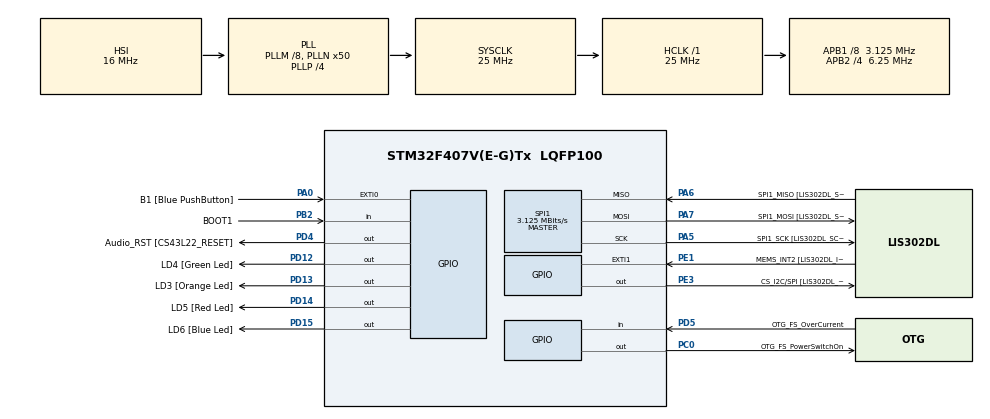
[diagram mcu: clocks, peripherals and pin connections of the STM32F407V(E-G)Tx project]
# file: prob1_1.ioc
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Mcu.Family=STM32F4
Mcu.Name=STM32F407V(E-G)Tx
Mcu.Package=LQFP100
NVIC.PriorityGroup=NVIC_PRIORITYGROUP_0
PA0-WKUP.GPIO_Label=B1 [Blue PushButton]
PA0-WKUP.GPIO_ModeDefaultEXTI=GPIO_MODE_EVT_RISING
PA0-WKUP.GPIO_PuPd=GPIO_NOPULL
PA0-WKUP.Signal=GPXTI0
PA10.GPIO_Label=OTG_FS_ID
PA10.GPIO_Mode=GPIO_MODE_AF_PP
PA10.GPIO_PuPd=GPIO_NOPULL
PA10.GPIO_Speed=GPIO_SPEED_FREQ_LOW
PA10.Signal=USB_OTG_FS_ID
PA11.GPIO_Label=OTG_FS_DM
PA11.GPIO_Mode=GPIO_MODE_AF_PP
PA11.GPIO_PuPd=GPIO_NOPULL
PA11.GPIO_Speed=GPIO_SPEED_FREQ_LOW
PA11.Signal=USB_OTG_FS_DM
PA12.GPIO_Label=OTG_FS_DP
PA12.GPIO_Mode=GPIO_MODE_AF_PP
PA12.GPIO_PuPd=GPIO_NOPULL
PA12.GPIO_Speed=GPIO_SPEED_FREQ_LOW
PA12.Signal=USB_OTG_FS_DP
PA13.GPIO_Label=SWDIO
PA13.Signal=SYS_JTMS-SWDIO
PA14.GPIO_Label=SWCLK
PA14.Signal=SYS_JTCK-SWCLK
PA4.GPIO_Label=I2S3_WS [CS43L22_LRCK]
PA4.GPIO_Mode=GPIO_MODE_AF_PP
PA4.GPIO_PuPd=GPIO_NOPULL
PA4.GPIO_Speed=GPIO_SPEED_FREQ_LOW
PA4.Signal=I2S3_WS
PA5.GPIO_Label=SPI1_SCK [LIS302DL_SCL/SPC]
PA5.GPIO_Mode=GPIO_MODE_AF_PP
PA5.GPIO_PuPd=GPIO_NOPULL
PA5.GPIO_Speed=GPIO_SPEED_FREQ_LOW
PA5.Mode=Full_Duplex_Master
PA5.Signal=SPI1_SCK
PA6.GPIO_Label=SPI1_MISO [LIS302DL_SDO]
PA6.GPIO_Mode=GPIO_MODE_AF_PP
PA6.GPIO_PuPd=GPIO_NOPULL
PA6.GPIO_Speed=GPIO_SPEED_FREQ_LOW
PA6.Mode=Full_Duplex_Master
PA6.Signal=SPI1_MISO
PA7.GPIO_Label=SPI1_MOSI [LIS302DL_SDA/SDI/SDO]
PA7.GPIO_Mode=GPIO_MODE_AF_PP
PA7.GPIO_PuPd=GPIO_NOPULL
PA7.GPIO_Speed=GPIO_SPEED_FREQ_LOW
PA7.Mode=Full_Duplex_Master
PA7.Signal=SPI1_MOSI
PA9.GPIO_Label=VBUS_FS
PA9.GPIO_Mode=GPIO_MODE_INPUT
PA9.GPIO_PuPd=GPIO_NOPULL
PA9.Signal=USB_OTG_FS_VBUS
PB10.GPIO_Label=CLK_IN [MP45DT02_CLK]
PB10.GPIO_Mode=GPIO_MODE_AF_PP
PB10.GPIO_PuPd=GPIO_NOPULL
PB10.GPIO_Speed=GPIO_SPEED_FREQ_LOW
PB10.Signal=I2S2_CK
PB2.GPIO_Label=BOOT1
PB2.GPIO_Mode=GPIO_MODE_INPUT
PB2.GPIO_PuPd=GPIO_NOPULL
PB2.Signal=GPIO_Input
PB3.GPIO_Label=SWO
PB3.Signal=SYS_JTDO-SWO
PB6.GPIO_Label=Audio_SCL [CS43L22_SCL]
PB6.GPIO_Mode=GPIO_MODE_AF_OD
PB6.GPIO_PuPd=GPIO_NOPULL
PB6.GPIO_Speed=GPIO_SPEED_FREQ_LOW
PB6.Signal=I2C1_SCL
PB9.GPIO_Label=Audio_SDA [CS43L22_SDA]
PB9.GPIO_Mode=GPIO_MODE_AF_OD
PB9.GPIO_PuPd=GPIO_NOPULL
PB9.GPIO_Speed=GPIO_SPEED_FREQ_LOW
PB9.Signal=I2C1_SDA
PC0.GPIO_Label=OTG_FS_PowerSwitchOn
PC0.GPIO_PuPd=GPIO_NOPULL
PC0.GPIO_Speed=GPIO_SPEED_FREQ_LOW
PC0.PinState=GPIO_PIN_SET
PC0.Signal=GPIO_Output
PC10.GPIO_Label=I2S3_SCK [CS43L22_SCLK]
PC10.GPIO_Mode=GPIO_MODE_AF_PP
PC10.GPIO_PuPd=GPIO_NOPULL
PC10.GPIO_Speed=GPIO_SPEED_FREQ_LOW
PC10.Signal=I2S3_CK
PC12.GPIO_Label=I2S3_SD [CS43L22_SDIN]
PC12.GPIO_Mode=GPIO_MODE_AF_PP
PC12.GPIO_PuPd=GPIO_NOPULL
PC12.GPIO_Speed=GPIO_SPEED_FREQ_LOW
PC12.Signal=I2S3_SD
PC14-OSC32_IN.GPIO_Label=PC14-OSC32_IN
PC14-OSC32_IN.Signal=RCC_OSC32_IN
PC15-OSC32_OUT.GPIO_Label=PC15-OSC32_OUT
PC15-OSC32_OUT.Signal=RCC_OSC32_OUT
PC3.GPIO_Label=PDM_OUT [MP45DT02_DOUT]
PC3.GPIO_Mode=GPIO_MODE_AF_PP
PC3.GPIO_PuPd=GPIO_NOPULL
PC3.GPIO_Speed=GPIO_SPEED_FREQ_LOW
PC3.Signal=I2S2_SD
PC7.GPIO_Label=I2S3_MCK [CS43L22_MCLK]
PC7.GPIO_Mode=GPIO_MODE_AF_PP
PC7.GPIO_PuPd=GPIO_NOPULL
PC7.GPIO_Speed=GPIO_SPEED_FREQ_LOW
PC7.Signal=I2S3_MCK
PD12.GPIO_Label=LD4 [Green Led]
PD12.GPIO_PuPd=GPIO_NOPULL
PD12.GPIO_Speed=GPIO_SPEED_FREQ_LOW
PD12.Signal=GPIO_Output
PD13.GPIO_Label=LD3 [Orange Led]
PD13.GPIO_PuPd=GPIO_NOPULL
PD13.GPIO_Speed=GPIO_SPEED_FREQ_LOW
PD13.Signal=GPIO_Output
PD14.GPIO_Label=LD5 [Red Led]
PD14.GPIO_PuPd=GPIO_NOPULL
PD14.GPIO_Speed=GPIO_SPEED_FREQ_LOW
PD14.Signal=GPIO_Output
PD15.GPIO_Label=LD6 [Blue Led]
PD15.GPIO_PuPd=GPIO_NOPULL
PD15.GPIO_Speed=GPIO_SPEED_FREQ_LOW
PD15.Signal=GPIO_Output
PD4.GPIO_Label=Audio_RST [CS43L22_RESET]
PD4.GPIO_PuPd=GPIO_NOPULL
PD4.GPIO_Speed=GPIO_SPEED_FREQ_LOW
PD4.Signal=GPIO_Output
PD5.GPIO_Label=OTG_FS_OverCurrent
PD5.GPIO_Mode=GPIO_MODE_INPUT
PD5.GPIO_PuPd=GPIO_NOPULL
PD5.Signal=GPIO_Input
PE1.GPIO_Label=MEMS_INT2 [LIS302DL_INT2]
PE1.GPIO_ModeDefaultEXTI=GPIO_MODE_EVT_RISING
PE1.GPIO_PuPd=GPIO_NOPULL
PE1.Signal=GPXTI1
PE3.GPIO_Label=CS_I2C/SPI [LIS302DL_CS_I2C/SPI]
PE3.GPIO_PuPd=GPIO_NOPULL
PE3.GPIO_Speed=GPIO_SPEED_FREQ_LOW
PE3.Signal=GPIO_Output
PH0-OSC_IN.GPIO_Label=PH0-OSC_IN
PH0-OSC_IN.Signal=RCC_OSC_IN
PH1-OSC_OUT.GPIO_Label=PH1-OSC_OUT
PH1-OSC_OUT.Signal=RCC_OSC_OUT
ProjectManager.HeapSize=0x200
ProjectManager.StackSize=0x400
ProjectManager.TargetToolchain=EWARM
RCC.48MHZClocksFreq_Value=14285714.285714285
RCC.AHBFreq_Value=25000000
RCC.APB1CLKDivider=RCC_HCLK_DIV8
RCC.APB1Freq_Value=3125000
RCC.APB1TimFreq_Value=6250000
RCC.APB2CLKDivider=RCC_HCLK_DIV4
RCC.APB2Freq_Value=6250000
RCC.APB2TimFreq_Value=12500000
RCC.CortexFreq_Value=25000000
RCC.HCLKFreq_Value=25000000
RCC.HSE_VALUE=8000000
RCC.HSI_VALUE=16000000
RCC.LSE_VALUE=32768
RCC.PLLM=8
RCC.PLLN=50
RCC.PLLP=RCC_PLLP_DIV4
RCC.PLLQ=7
RCC.SYSCLKFreq_VALUE=25000000
RCC.SYSCLKSource=RCC_SYSCLKSOURCE_PLLCLK
RCC.VCOOutputFreq_Value=100000000
SPI1.CalculateBaudRate=3.125 MBits/s
SPI1.Direction=SPI_DIRECTION_2LINES
SPI1.Mode=SPI_MODE_MASTER
SPI1.VirtualType=VM_MASTER
board=STM32F4DISCOVERY

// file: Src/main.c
/**
  ******************************************************************************
  * File Name          : main.c
  * Description        : Main program body
  ******************************************************************************
  ** This notice applies to any and all portions of this file
  * that are not between comment pairs USER CODE BEGIN and
  * USER CODE END. Other portions of this file, whether
  * inserted by the user or by software development tools
  * are owned by their respective copyright owners.
  *
  * COPYRIGHT(c) 2018 STMicroelectronics
  *
  * Redistribution and use in source and binary forms, with or without modification,
  * are permitted provided that the following conditions are met:
  *   1. Redistributions of source code must retain the above copyright notice,
  *      this list of conditions and the following disclaimer.
  *   2. Redistributions in binary form must reproduce the above copyright notice,
  *      this list of conditions and the following disclaimer in the documentation
  *      and/or other materials provided with the distribution.
  *   3. Neither the name of STMicroelectronics nor the names of its contributors
  *      may be used to endorse or promote products derived from this software
  *      without specific prior written permission.
  *
  * THIS SOFTWARE IS PROVIDED BY THE COPYRIGHT HOLDERS AND CONTRIBUTORS "AS IS"
  * AND ANY EXPRESS OR IMPLIED WARRANTIES, INCLUDING, BUT NOT LIMITED TO, THE
  * IMPLIED WARRANTIES OF MERCHANTABILITY AND FITNESS FOR A PARTICULAR PURPOSE ARE
  * DISCLAIMED. IN NO EVENT SHALL THE COPYRIGHT HOLDER OR CONTRIBUTORS BE LIABLE
  * FOR ANY DIRECT, INDIRECT, INCIDENTAL, SPECIAL, EXEMPLARY, OR CONSEQUENTIAL
  * DAMAGES (INCLUDING, BUT NOT LIMITED TO, PROCUREMENT OF SUBSTITUTE GOODS OR
  * SERVICES; LOSS OF USE, DATA, OR PROFITS; OR BUSINESS INTERRUPTION) HOWEVER
  * CAUSED AND ON ANY THEORY OF LIABILITY, WHETHER IN CONTRACT, STRICT LIABILITY,
  * OR TORT (INCLUDING NEGLIGENCE OR OTHERWISE) ARISING IN ANY WAY OUT OF THE USE
  * OF THIS SOFTWARE, EVEN IF ADVISED OF THE POSSIBILITY OF SUCH DAMAGE.
  *
  ******************************************************************************
  */

#include "main.h"
#include "stm32f4xx_hal.h"

/* USER CODE BEGIN Includes */
#include "LIS3DH.h"
#include "InverseCosine.h"
/* USER CODE END Includes */

SPI_HandleTypeDef hspi1;

/* USER CODE BEGIN PV */
/* Private variables ---------------------------------------------------------*/
HAL_StatusTypeDef ss;
LIS3DH_AccDataStruct DATA;
float32_t angle;
uint8_t sssss;
/* USER CODE END PV */

void SystemClock_Config(void);
static void MX_GPIO_Init(void);
static void MX_SPI1_Init(void);

/* USER CODE BEGIN PFP */
/* Private function prototypes -----------------------------------------------*/

/* USER CODE END PFP */

int main(void)
{

  /* MCU Configuration----------------------------------------------------------*/

  /* Reset of all peripherals, Initializes the Flash interface and the Systick. */
  HAL_Init();

  /* Configure the system clock */
  SystemClock_Config();

  /* Initialize all configured peripherals */
  MX_GPIO_Init();
  MX_SPI1_Init();

  /* USER CODE BEGIN 2 */
  LIS3DH_InitStruct MEMS_INIT;
  MEMS_INIT.OutputDataRate = ODR_400Hz;
  MEMS_INIT.FullScaleSelection = FSS_4g;
  MEMS_INIT.hspi_p = &hspi1;
  MEMS_INIT.SPI_CS_Pin = CS_I2C_SPI_Pin;
  MEMS_INIT.SPI_CS_Port = CS_I2C_SPI_GPIO_Port;

  LIS3DH_Init(&MEMS_INIT);

  /* USER CODE END 2 */

  /* Infinite loop */
  /* USER CODE BEGIN WHILE */
  while (1)
  {
	ss = LIS3DH_Get_Acc(&DATA);
	REG_ReadAbyte(ADDR_WHO_AM_I_R, &sssss);
	float acos = DATA.acc[2];
	if(acos > 1){
		acos = 1;
	}else if(acos < -1){
		acos = -1;
	}

	angle = ArcCos(acos);
	HAL_Delay(100);
  /* USER CODE END WHILE */

  }

}

/** System Clock Configuration
*/
void SystemClock_Config(void)
{

  RCC_OscInitTypeDef RCC_OscInitStruct;
  RCC_ClkInitTypeDef RCC_ClkInitStruct;

    /**Configure the main internal regulator output voltage
    */
  __HAL_RCC_PWR_CLK_ENABLE();

  __HAL_PWR_VOLTAGESCALING_CONFIG(PWR_REGULATOR_VOLTAGE_SCALE1);

    /**Initializes the CPU, AHB and APB busses clocks
    */
  RCC_OscInitStruct.OscillatorType = RCC_OSCILLATORTYPE_HSI;
  RCC_OscInitStruct.HSIState = RCC_HSI_ON;
  RCC_OscInitStruct.HSICalibrationValue = 16;
  RCC_OscInitStruct.PLL.PLLState = RCC_PLL_ON;
  RCC_OscInitStruct.PLL.PLLSource = RCC_PLLSOURCE_HSI;
  RCC_OscInitStruct.PLL.PLLM = 8;
  RCC_OscInitStruct.PLL.PLLN = 50;
  RCC_OscInitStruct.PLL.PLLP = RCC_PLLP_DIV4;
  RCC_OscInitStruct.PLL.PLLQ = 7;
  if (HAL_RCC_OscConfig(&RCC_OscInitStruct) != HAL_OK)
  {
    _Error_Handler(__FILE__, __LINE__);
  }

    /**Initializes the CPU, AHB and APB busses clocks
    */
  RCC_ClkInitStruct.ClockType = RCC_CLOCKTYPE_HCLK|RCC_CLOCKTYPE_SYSCLK
                              |RCC_CLOCKTYPE_PCLK1|RCC_CLOCKTYPE_PCLK2;
  RCC_ClkInitStruct.SYSCLKSource = RCC_SYSCLKSOURCE_PLLCLK;
  RCC_ClkInitStruct.AHBCLKDivider = RCC_SYSCLK_DIV1;
  RCC_ClkInitStruct.APB1CLKDivider = RCC_HCLK_DIV8;
  RCC_ClkInitStruct.APB2CLKDivider = RCC_HCLK_DIV4;

  if (HAL_RCC_ClockConfig(&RCC_ClkInitStruct, FLASH_LATENCY_0) != HAL_OK)
  {
    _Error_Handler(__FILE__, __LINE__);
  }

    /**Configure the Systick interrupt time
    */
  HAL_SYSTICK_Config(HAL_RCC_GetHCLKFreq()/1000);

    /**Configure the Systick
    */
  HAL_SYSTICK_CLKSourceConfig(SYSTICK_CLKSOURCE_HCLK);

  /* SysTick_IRQn interrupt configuration */
  HAL_NVIC_SetPriority(SysTick_IRQn, 0, 0);
}

/* SPI1 init function */
static void MX_SPI1_Init(void)
{

  /* SPI1 parameter configuration*/
  hspi1.Instance = SPI1;
  hspi1.Init.Mode = SPI_MODE_MASTER;
  hspi1.Init.Direction = SPI_DIRECTION_2LINES;
  hspi1.Init.DataSize = SPI_DATASIZE_8BIT;
  hspi1.Init.CLKPolarity = SPI_POLARITY_LOW;
  hspi1.Init.CLKPhase = SPI_PHASE_1EDGE;
  hspi1.Init.NSS = SPI_NSS_SOFT;
  hspi1.Init.BaudRatePrescaler = SPI_BAUDRATEPRESCALER_2;
  hspi1.Init.FirstBit = SPI_FIRSTBIT_MSB;
  hspi1.Init.TIMode = SPI_TIMODE_DISABLE;
  hspi1.Init.CRCCalculation = SPI_CRCCALCULATION_DISABLE;
  hspi1.Init.CRCPolynomial = 10;
  if (HAL_SPI_Init(&hspi1) != HAL_OK)
  {
    _Error_Handler(__FILE__, __LINE__);
  }

}

/** Configure pins as
        * Analog
        * Input
        * Output
        * EVENT_OUT
        * EXTI
     PC3   ------> I2S2_SD
     PA4   ------> I2S3_WS
     PB10   ------> I2S2_CK
     PC7   ------> I2S3_MCK
     PA9   ------> USB_OTG_FS_VBUS
     PA10   ------> USB_OTG_FS_ID
     PA11   ------> USB_OTG_FS_DM
     PA12   ------> USB_OTG_FS_DP
     PC10   ------> I2S3_CK
     PC12   ------> I2S3_SD
     PB6   ------> I2C1_SCL
     PB9   ------> I2C1_SDA
*/
static void MX_GPIO_Init(void)
{

  GPIO_InitTypeDef GPIO_InitStruct;

  /* GPIO Ports Clock Enable */
  __HAL_RCC_GPIOE_CLK_ENABLE();
  __HAL_RCC_GPIOC_CLK_ENABLE();
  __HAL_RCC_GPIOH_CLK_ENABLE();
  __HAL_RCC_GPIOA_CLK_ENABLE();
  __HAL_RCC_GPIOB_CLK_ENABLE();
  __HAL_RCC_GPIOD_CLK_ENABLE();

  /*Configure GPIO pin Output Level */
  HAL_GPIO_WritePin(CS_I2C_SPI_GPIO_Port, CS_I2C_SPI_Pin, GPIO_PIN_RESET);

  /*Configure GPIO pin Output Level */
  HAL_GPIO_WritePin(OTG_FS_PowerSwitchOn_GPIO_Port, OTG_FS_PowerSwitchOn_Pin, GPIO_PIN_SET);

  /*Configure GPIO pin Output Level */
  HAL_GPIO_WritePin(GPIOD, LD4_Pin|LD3_Pin|LD5_Pin|LD6_Pin
                          |Audio_RST_Pin, GPIO_PIN_RESET);

  /*Configure GPIO pin : CS_I2C_SPI_Pin */
  GPIO_InitStruct.Pin = CS_I2C_SPI_Pin;
  GPIO_InitStruct.Mode = GPIO_MODE_OUTPUT_PP;
  GPIO_InitStruct.Pull = GPIO_NOPULL;
  GPIO_InitStruct.Speed = GPIO_SPEED_FREQ_LOW;
  HAL_GPIO_Init(CS_I2C_SPI_GPIO_Port, &GPIO_InitStruct);

  /*Configure GPIO pin : OTG_FS_PowerSwitchOn_Pin */
  GPIO_InitStruct.Pin = OTG_FS_PowerSwitchOn_Pin;
  GPIO_InitStruct.Mode = GPIO_MODE_OUTPUT_PP;
  GPIO_InitStruct.Pull = GPIO_NOPULL;
  GPIO_InitStruct.Speed = GPIO_SPEED_FREQ_LOW;
  HAL_GPIO_Init(OTG_FS_PowerSwitchOn_GPIO_Port, &GPIO_InitStruct);

  /*Configure GPIO pin : PDM_OUT_Pin */
  GPIO_InitStruct.Pin = PDM_OUT_Pin;
  GPIO_InitStruct.Mode = GPIO_MODE_AF_PP;
  GPIO_InitStruct.Pull = GPIO_NOPULL;
  GPIO_InitStruct.Speed = GPIO_SPEED_FREQ_LOW;
  GPIO_InitStruct.Alternate = GPIO_AF5_SPI2;
  HAL_GPIO_Init(PDM_OUT_GPIO_Port, &GPIO_InitStruct);

  /*Configure GPIO pin : B1_Pin */
  GPIO_InitStruct.Pin = B1_Pin;
  GPIO_InitStruct.Mode = GPIO_MODE_EVT_RISING;
  GPIO_InitStruct.Pull = GPIO_NOPULL;
  HAL_GPIO_Init(B1_GPIO_Port, &GPIO_InitStruct);

  /*Configure GPIO pin : I2S3_WS_Pin */
  GPIO_InitStruct.Pin = I2S3_WS_Pin;
  GPIO_InitStruct.Mode = GPIO_MODE_AF_PP;
  GPIO_InitStruct.Pull = GPIO_NOPULL;
  GPIO_InitStruct.Speed = GPIO_SPEED_FREQ_LOW;
  GPIO_InitStruct.Alternate = GPIO_AF6_SPI3;
  HAL_GPIO_Init(I2S3_WS_GPIO_Port, &GPIO_InitStruct);

  /*Configure GPIO pin : BOOT1_Pin */
  GPIO_InitStruct.Pin = BOOT1_Pin;
  GPIO_InitStruct.Mode = GPIO_MODE_INPUT;
  GPIO_InitStruct.Pull = GPIO_NOPULL;
  HAL_GPIO_Init(BOOT1_GPIO_Port, &GPIO_InitStruct);

  /*Configure GPIO pin : CLK_IN_Pin */
  GPIO_InitStruct.Pin = CLK_IN_Pin;
  GPIO_InitStruct.Mode = GPIO_MODE_AF_PP;
  GPIO_InitStruct.Pull = GPIO_NOPULL;
  GPIO_InitStruct.Speed = GPIO_SPEED_FREQ_LOW;
  GPIO_InitStruct.Alternate = GPIO_AF5_SPI2;
  HAL_GPIO_Init(CLK_IN_GPIO_Port, &GPIO_InitStruct);

  /*Configure GPIO pins : LD4_Pin LD3_Pin LD5_Pin LD6_Pin
                           Audio_RST_Pin */
  GPIO_InitStruct.Pin = LD4_Pin|LD3_Pin|LD5_Pin|LD6_Pin
                          |Audio_RST_Pin;
  GPIO_InitStruct.Mode = GPIO_MODE_OUTPUT_PP;
  GPIO_InitStruct.Pull = GPIO_NOPULL;
  GPIO_InitStruct.Speed = GPIO_SPEED_FREQ_LOW;
  HAL_GPIO_Init(GPIOD, &GPIO_InitStruct);

  /*Configure GPIO pins : I2S3_MCK_Pin I2S3_SCK_Pin I2S3_SD_Pin */
  GPIO_InitStruct.Pin = I2S3_MCK_Pin|I2S3_SCK_Pin|I2S3_SD_Pin;
  GPIO_InitStruct.Mode = GPIO_MODE_AF_PP;
  GPIO_InitStruct.Pull = GPIO_NOPULL;
  GPIO_InitStruct.Speed = GPIO_SPEED_FREQ_LOW;
  GPIO_InitStruct.Alternate = GPIO_AF6_SPI3;
  HAL_GPIO_Init(GPIOC, &GPIO_InitStruct);

  /*Configure GPIO pin : VBUS_FS_Pin */
  GPIO_InitStruct.Pin = VBUS_FS_Pin;
  GPIO_InitStruct.Mode = GPIO_MODE_INPUT;
  GPIO_InitStruct.Pull = GPIO_NOPULL;
  HAL_GPIO_Init(VBUS_FS_GPIO_Port, &GPIO_InitStruct);

  /*Configure GPIO pins : OTG_FS_ID_Pin OTG_FS_DM_Pin OTG_FS_DP_Pin */
  GPIO_InitStruct.Pin = OTG_FS_ID_Pin|OTG_FS_DM_Pin|OTG_FS_DP_Pin;
  GPIO_InitStruct.Mode = GPIO_MODE_AF_PP;
  GPIO_InitStruct.Pull = GPIO_NOPULL;
  GPIO_InitStruct.Speed = GPIO_SPEED_FREQ_LOW;
  GPIO_InitStruct.Alternate = GPIO_AF10_OTG_FS;
  HAL_GPIO_Init(GPIOA, &GPIO_InitStruct);

  /*Configure GPIO pin : OTG_FS_OverCurrent_Pin */
  GPIO_InitStruct.Pin = OTG_FS_OverCurrent_Pin;
  GPIO_InitStruct.Mode = GPIO_MODE_INPUT;
  GPIO_InitStruct.Pull = GPIO_NOPULL;
  HAL_GPIO_Init(OTG_FS_OverCurrent_GPIO_Port, &GPIO_InitStruct);

  /*Configure GPIO pins : Audio_SCL_Pin Audio_SDA_Pin */
  GPIO_InitStruct.Pin = Audio_SCL_Pin|Audio_SDA_Pin;
  GPIO_InitStruct.Mode = GPIO_MODE_AF_OD;
  GPIO_InitStruct.Pull = GPIO_PULLUP;
  GPIO_InitStruct.Speed = GPIO_SPEED_FREQ_LOW;
  GPIO_InitStruct.Alternate = GPIO_AF4_I2C1;
  HAL_GPIO_Init(GPIOB, &GPIO_InitStruct);

  /*Configure GPIO pin : MEMS_INT2_Pin */
  GPIO_InitStruct.Pin = MEMS_INT2_Pin;
  GPIO_InitStruct.Mode = GPIO_MODE_EVT_RISING;
  GPIO_InitStruct.Pull = GPIO_NOPULL;
  HAL_GPIO_Init(MEMS_INT2_GPIO_Port, &GPIO_InitStruct);

}

void _Error_Handler(char * file, int line)
{
  while(1)
  {
  }
}

/************************ (C) COPYRIGHT STMicroelectronics *****END OF FILE****/
